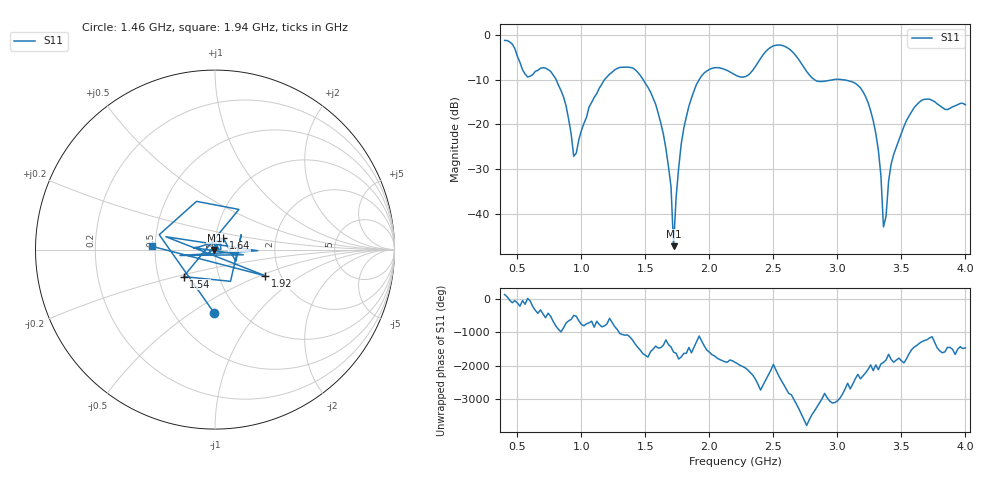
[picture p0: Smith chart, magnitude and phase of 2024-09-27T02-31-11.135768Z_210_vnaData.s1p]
!Created with skrf (http://scikit-rf.org).
# Hz S RI R 50.0
!freq ReS11 ImS11
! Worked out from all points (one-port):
!   181 points, 400 MHz to 4 GHz, reference 50 ohm
!   lowest |S11| = -47.3 dB at 1.72 GHz (marker M1), VSWR 1.01, Z = 49.6 - j0.222 ohm
!   |S11| at or under -10 dB: 802.9 MHz to 1.179 GHz (376.5 MHz wide, 38 % of centre); 1.483 GHz to 1.92 GHz (436.5 MHz wide, 25.7 % of centre); 3.045 GHz to end of sweep (the widest 3 of 4)
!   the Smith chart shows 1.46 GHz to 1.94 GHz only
!   S11 on the Smith chart (normalised r, x): 1.46 GHz: 0.77, -0.63; 1.54 GHz: 0.67, -0.21; 1.64 GHz: 1.09, +0.14; 1.92 GHz: 1.67, -0.54; 1.94 GHz: 0.48, +0.02
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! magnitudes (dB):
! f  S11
! 400 MHz  -1.2
! 580 MHz  -9.4
! 720 MHz  -7.4
! 860 MHz  -13.8
! 940 MHz  -27.1
! 1.06 GHz  -16.1
! 1.3 GHz  -7.2
! 1.46 GHz  -9.0
! 1.54 GHz  -12.7
! 1.64 GHz  -22.1
! 1.7 GHz  -33.9
! 1.72 GHz  -47.3
! 1.76 GHz  -29.7
! 1.82 GHz  -18.3
! 1.92 GHz  -10.0
! 1.94 GHz  -9.1
! 2.2 GHz  -8.9
! 2.5 GHz  -2.4
! 2.66 GHz  -4.1
! 2.84 GHz  -10.3
! 3.1 GHz  -10.3
! 3.28 GHz  -19.2
! 3.34 GHz  -31.5
! 3.36 GHz  -43.0
! 3.42 GHz  -28.9
! 3.56 GHz  -18.1
! 3.68 GHz  -14.4
! 4 GHz  -15.6
